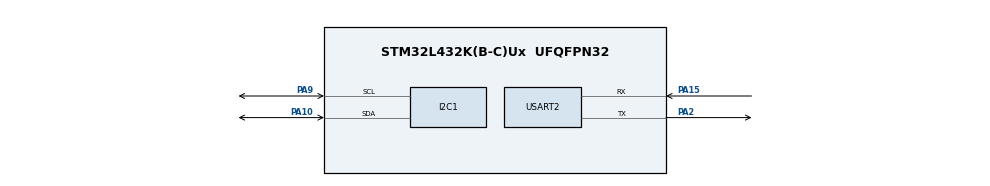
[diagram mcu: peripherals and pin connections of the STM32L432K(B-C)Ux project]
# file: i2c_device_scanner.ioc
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Mcu.Family=STM32L4
Mcu.Name=STM32L432K(B-C)Ux
Mcu.Package=UFQFPN32
NVIC.PriorityGroup=NVIC_PRIORITYGROUP_4
PA10.Mode=I2C
PA10.Signal=I2C1_SDA
PA15\ (JTDI).Mode=Asynchronous
PA15\ (JTDI).Signal=USART2_RX
PA2.Mode=Asynchronous
PA2.Signal=USART2_TX
PA9.Mode=I2C
PA9.Signal=I2C1_SCL
ProjectManager.HeapSize=0x200
ProjectManager.StackSize=0x400
ProjectManager.TargetToolchain=STM32CubeIDE
RCC.HSE_VALUE=8000000
RCC.HSI48_VALUE=48000000
RCC.HSI_VALUE=16000000
RCC.LSE_VALUE=32768
RCC.MSI_VALUE=4000000
RCC.VCOOutputFreq_Value=32000000
USART2.VirtualMode-Asynchronous=VM_ASYNC
board=custom

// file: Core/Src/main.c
/* USER CODE BEGIN Header */
/**
  ******************************************************************************
  * @file           : main.c
  * @brief          : Main program body
  ******************************************************************************
  * @attention
  *
  * <h2><center>&copy; Copyright (c) 2020 STMicroelectronics.
  * All rights reserved.</center></h2>
  *
  * This software component is licensed by ST under BSD 3-Clause license,
  * the "License"; You may not use this file except in compliance with the
  * License. You may obtain a copy of the License at:
  *                        opensource.org/licenses/BSD-3-Clause
  *
  ******************************************************************************
  */
/* USER CODE END Header */

#include "main.h"

/* USER CODE BEGIN Includes */
#include "stdio.h"
/* USER CODE END Includes */

I2C_HandleTypeDef hi2c1;

UART_HandleTypeDef huart2;

void SystemClock_Config(void);
static void MX_GPIO_Init(void);
static void MX_I2C1_Init(void);
static void MX_USART2_UART_Init(void);

int main(void)
{

  /* MCU Configuration--------------------------------------------------------*/

  /* Reset of all peripherals, Initializes the Flash interface and the Systick. */
  HAL_Init();

  /* Configure the system clock */
  SystemClock_Config();

  /* Initialize all configured peripherals */
  MX_GPIO_Init();
  MX_I2C1_Init();
  MX_USART2_UART_Init();
  /* USER CODE BEGIN 2 */

  int i = 0;
  int result = 0;
  printf("SCANNING I2C DEVICE...");

  for(i=0; i<128; i++)
  {
	  result = HAL_I2C_IsDeviceReady(&hi2c1, (uint16_t)(i<<1), 2, 2);
	  if(result != HAL_OK) // jika result tidak OK
	  {
		  printf("."); // maka print titik-titik
	  }
	  else // jika result OK
	  {
		  printf("0x%X",i); // maka print address
	  }

	  if(i%24==0) // ini biar gak memanjang kesamping titik-titiknya
	  {
		  printf("\r\n");
	  }
  }
  /* USER CODE END 2 */

  /* Infinite loop */
  while (1)
  {

  }
}

void SystemClock_Config(void)
{
  RCC_OscInitTypeDef RCC_OscInitStruct = {0};
  RCC_ClkInitTypeDef RCC_ClkInitStruct = {0};
  RCC_PeriphCLKInitTypeDef PeriphClkInit = {0};

  /** Initializes the CPU, AHB and APB busses clocks
  */
  RCC_OscInitStruct.OscillatorType = RCC_OSCILLATORTYPE_MSI;
  RCC_OscInitStruct.MSIState = RCC_MSI_ON;
  RCC_OscInitStruct.MSICalibrationValue = 0;
  RCC_OscInitStruct.MSIClockRange = RCC_MSIRANGE_6;
  RCC_OscInitStruct.PLL.PLLState = RCC_PLL_NONE;
  if (HAL_RCC_OscConfig(&RCC_OscInitStruct) != HAL_OK)
  {
    Error_Handler();
  }
  /** Initializes the CPU, AHB and APB busses clocks
  */
  RCC_ClkInitStruct.ClockType = RCC_CLOCKTYPE_HCLK|RCC_CLOCKTYPE_SYSCLK
                              |RCC_CLOCKTYPE_PCLK1|RCC_CLOCKTYPE_PCLK2;
  RCC_ClkInitStruct.SYSCLKSource = RCC_SYSCLKSOURCE_MSI;
  RCC_ClkInitStruct.AHBCLKDivider = RCC_SYSCLK_DIV1;
  RCC_ClkInitStruct.APB1CLKDivider = RCC_HCLK_DIV1;
  RCC_ClkInitStruct.APB2CLKDivider = RCC_HCLK_DIV1;

  if (HAL_RCC_ClockConfig(&RCC_ClkInitStruct, FLASH_LATENCY_0) != HAL_OK)
  {
    Error_Handler();
  }
  PeriphClkInit.PeriphClockSelection = RCC_PERIPHCLK_USART2|RCC_PERIPHCLK_I2C1;
  PeriphClkInit.Usart2ClockSelection = RCC_USART2CLKSOURCE_PCLK1;
  PeriphClkInit.I2c1ClockSelection = RCC_I2C1CLKSOURCE_PCLK1;
  if (HAL_RCCEx_PeriphCLKConfig(&PeriphClkInit) != HAL_OK)
  {
    Error_Handler();
  }
  /** Configure the main internal regulator output voltage
  */
  if (HAL_PWREx_ControlVoltageScaling(PWR_REGULATOR_VOLTAGE_SCALE1) != HAL_OK)
  {
    Error_Handler();
  }
}

static void MX_I2C1_Init(void)
{

  hi2c1.Instance = I2C1;
  hi2c1.Init.Timing = 0x00000E14;
  hi2c1.Init.OwnAddress1 = 0;
  hi2c1.Init.AddressingMode = I2C_ADDRESSINGMODE_7BIT;
  hi2c1.Init.DualAddressMode = I2C_DUALADDRESS_DISABLE;
  hi2c1.Init.OwnAddress2 = 0;
  hi2c1.Init.OwnAddress2Masks = I2C_OA2_NOMASK;
  hi2c1.Init.GeneralCallMode = I2C_GENERALCALL_DISABLE;
  hi2c1.Init.NoStretchMode = I2C_NOSTRETCH_DISABLE;
  if (HAL_I2C_Init(&hi2c1) != HAL_OK)
  {
    Error_Handler();
  }
  /** Configure Analogue filter
  */
  if (HAL_I2CEx_ConfigAnalogFilter(&hi2c1, I2C_ANALOGFILTER_ENABLE) != HAL_OK)
  {
    Error_Handler();
  }
  /** Configure Digital filter
  */
  if (HAL_I2CEx_ConfigDigitalFilter(&hi2c1, 0) != HAL_OK)
  {
    Error_Handler();
  }

}

static void MX_USART2_UART_Init(void)
{

  huart2.Instance = USART2;
  huart2.Init.BaudRate = 115200;
  huart2.Init.WordLength = UART_WORDLENGTH_8B;
  huart2.Init.StopBits = UART_STOPBITS_1;
  huart2.Init.Parity = UART_PARITY_NONE;
  huart2.Init.Mode = UART_MODE_TX_RX;
  huart2.Init.HwFlowCtl = UART_HWCONTROL_NONE;
  huart2.Init.OverSampling = UART_OVERSAMPLING_16;
  huart2.Init.OneBitSampling = UART_ONE_BIT_SAMPLE_DISABLE;
  huart2.AdvancedInit.AdvFeatureInit = UART_ADVFEATURE_NO_INIT;
  if (HAL_UART_Init(&huart2) != HAL_OK)
  {
    Error_Handler();
  }

}

static void MX_GPIO_Init(void)
{

  /* GPIO Ports Clock Enable */
  __HAL_RCC_GPIOA_CLK_ENABLE();

}

/* USER CODE BEGIN 4 */
//PRITF
int __io_putchar(int ch)
{
	HAL_UART_Transmit(&huart2, (uint8_t*)&ch, 1, 0xFFFF);
	return ch;
}
/* USER CODE END 4 */

void Error_Handler(void)
{
}

/************************ (C) COPYRIGHT STMicroelectronics *****END OF FILE****/
